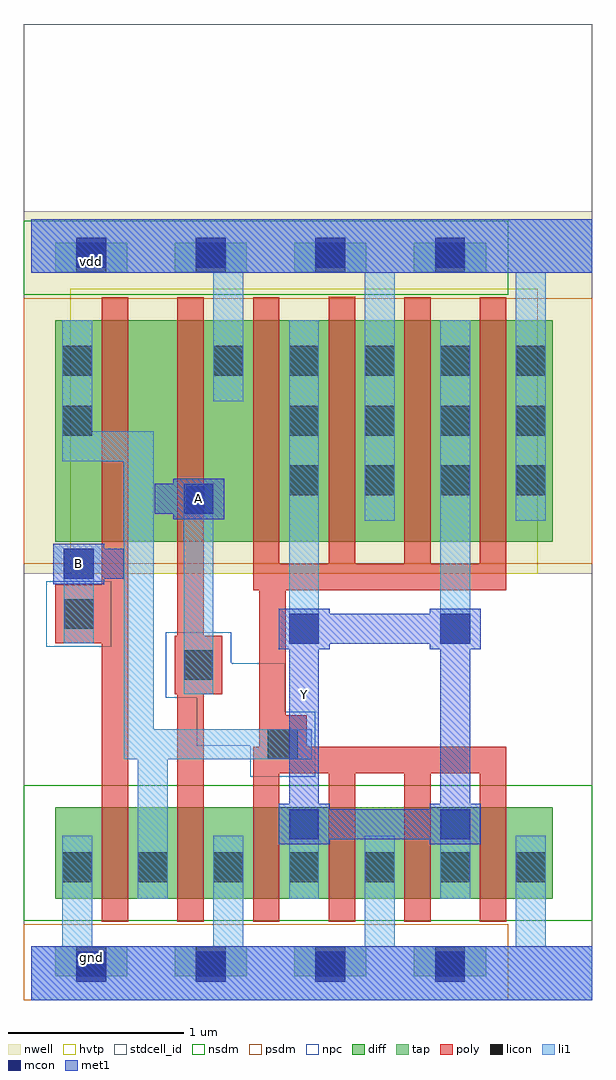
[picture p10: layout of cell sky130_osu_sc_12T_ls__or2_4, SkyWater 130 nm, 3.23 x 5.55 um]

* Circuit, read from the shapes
.subckt sky130_osu_sc_12T_ls__or2_4 A B Y gnd vdd
XM1 n1 B gnd gnd sky130_fd_pr__nfet_01v8 w=0.52 l=0.15
XM2 gnd A n1 gnd sky130_fd_pr__nfet_01v8 w=0.52 l=0.15
XM3 Y n1 gnd gnd sky130_fd_pr__nfet_01v8 w=0.52 l=0.15 m=4
XM4 n2 B n1 vdd sky130_fd_pr__pfet_01v8_hvt w=1.26 l=0.15
XM5 vdd A n2 vdd sky130_fd_pr__pfet_01v8_hvt w=1.26 l=0.15
XM6 Y n1 vdd vdd sky130_fd_pr__pfet_01v8_hvt w=1.26 l=0.15 m=4
.ends

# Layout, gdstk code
import gdstk
lib = gdstk.Library(unit=1e-6, precision=1e-09)
def R(c, l, rs):  # rectangles x0, y0, x1, y1
    for r in rs: c.add(gdstk.rectangle(r[:2], r[2:], *l))
def A(c, l, x, y, w, h, nx, ny, dx, dy):  # array of equal rectangles
    R(c, l, [(x+i*dx, y+j*dy, x+i*dx+w, y+j*dy+h) for i in range(nx) for j in range(ny)])
nwell = (64, 20)
diff = (65, 20)
tap = (65, 44)
poly = (66, 20)
licon = (66, 44)
li1 = (67, 20)
mcon = (67, 44)
met1 = (68, 20)
hvtp = (78, 44)
stdcell_id = (81, 4)
nsdm = (93, 44)
psdm = (94, 20)
npc = (95, 20)

sky130_osu_sc_12t_ls__or = lib.new_cell('sky130_osu_sc_12T_ls__or2_4')
R(sky130_osu_sc_12t_ls__or, nwell, [(-0.045,2.425,3.19,4.485)])
R(sky130_osu_sc_12t_ls__or, diff, [(0.135,0.575,2.965,1.095), (0.135,2.605,2.965,3.865)])
A(sky130_osu_sc_12t_ls__or, tap, 0.135, 0.135, 0.41, 0.17, 4, 2, 0.68, 4)
A(sky130_osu_sc_12t_ls__or, poly, 1.26, 0.445, 0.15, 0.845, 4, 1, 0.43, 0)
R(sky130_osu_sc_12t_ls__or, poly, [(0.4,0.445,0.55,2.03), (0.83,0.445,0.98,1.74), (1.26,1.29,2.7,1.44), (1.295,1.44,1.565,1.62), (1.295,1.62,1.445,2.33), (0.815,1.74,1.085,2.07), (0.135,2.03,0.55,2.36), (0.83,2.07,0.98,3.995), (1.26,2.33,2.7,2.48), (0.4,2.36,0.55,3.995), (1.26,2.48,1.41,3.995), (1.69,2.48,1.84,4), (2.12,2.48,2.27,3.995), (2.55,2.48,2.7,3.995)])
A(sky130_osu_sc_12t_ls__or, licon, 0.255, 0.135, 0.17, 0.17, 4, 2, 0.68, 4)
A(sky130_osu_sc_12t_ls__or, licon, 0.175, 0.67, 0.17, 0.17, 7, 1, 0.43, 0)
A(sky130_osu_sc_12t_ls__or, licon, 1.465, 2.87, 0.17, 0.17, 4, 2, 0.43, 0.34)
A(sky130_osu_sc_12t_ls__or, licon, 1.035, 3.55, 0.17, 0.17, 5, 1, 0.43, 0)
R(sky130_osu_sc_12t_ls__or, licon, [(1.345,1.37,1.515,1.54), (0.865,1.82,1.035,1.99), (0.185,2.11,0.355,2.28), (0.175,3.21,0.345,3.38), (0.175,3.55,0.345,3.72)])
A(sky130_osu_sc_12t_ls__or, li1, 0.175, 0.305, 0.17, 0.63, 4, 1, 0.86, 0)
R(sky130_osu_sc_12t_ls__or, li1, [(0,0,3.19,0.305), (0.605,0.575,0.775,1.37), (1.465,0.575,1.635,1.085), (2.325,0.575,2.495,1.085), (0.525,1.37,1.595,1.54), (0.525,1.54,0.695,3.065), (0.865,1.74,1.035,2.935), (1.465,2.025,1.635,3.865), (2.325,2.025,2.495,3.865), (0.185,2.03,0.355,2.565), (1.895,2.725,2.065,4.135), (2.755,2.725,2.925,4.135), (0.175,3.065,0.695,3.235), (0.175,3.235,0.345,3.865), (1.035,3.405,1.205,4.135), (0,4.135,3.19,4.44)])
A(sky130_osu_sc_12t_ls__or, mcon, 0.255, 0.105, 0.17, 0.17, 4, 2, 0.68, 4.06)
R(sky130_osu_sc_12t_ls__or, mcon, [(1.465,0.915,1.635,1.085), (2.325,0.915,2.495,1.085), (1.465,2.025,1.635,2.195), (2.325,2.025,2.495,2.195), (0.185,2.395,0.355,2.565), (0.865,2.765,1.035,2.935)])
R(sky130_osu_sc_12t_ls__or, met1, [(0,0,3.19,0.305), (1.405,0.885,1.695,0.915), (2.265,0.885,2.555,0.915), (1.405,0.915,2.555,1.085), (1.405,1.085,1.695,1.115), (2.265,1.085,2.555,1.115), (1.465,1.115,1.635,1.995), (2.325,1.115,2.495,1.995), (1.405,1.995,1.695,2.025), (2.265,1.995,2.555,2.025), (1.405,2.025,2.555,2.195), (1.405,2.195,1.695,2.225), (2.265,2.195,2.555,2.225), (0.125,2.365,0.415,2.395), (0.125,2.395,0.525,2.565), (0.125,2.565,0.415,2.595), (0.805,2.735,1.095,2.765), (0.7,2.765,1.095,2.935), (0.805,2.935,1.095,2.965), (0,4.135,3.19,4.44)])
R(sky130_osu_sc_12t_ls__or, hvtp, [(0.22,2.425,2.88,4.045)])
R(sky130_osu_sc_12t_ls__or, stdcell_id, [(-0.045,0,3.19,5.55)])
R(sky130_osu_sc_12t_ls__or, nsdm, [(-0.045,0.45,3.19,1.22), (-0.045,4.01,2.71,4.43)])
R(sky130_osu_sc_12t_ls__or, psdm, [(-0.045,0,2.71,0.43), (-0.045,2.48,3.19,3.99)])
R(sky130_osu_sc_12t_ls__or, npc, [(1.245,1.27,1.615,1.445), (0.94,1.445,1.615,1.64), (0.94,1.64,1.44,1.72), (0.765,1.72,1.44,1.915), (0.765,1.915,1.135,2.09), (0.085,2.01,0.455,2.38)])
sky130_osu_sc_12t_ls__or.add(gdstk.Label('gnd', (0.34,0.24), layer=68, texttype=16))
sky130_osu_sc_12t_ls__or.add(gdstk.Label('vdd', (0.34,4.2), layer=68, texttype=16))
sky130_osu_sc_12t_ls__or.add(gdstk.Label('Y', (1.555,1.74), layer=68, texttype=5))
sky130_osu_sc_12t_ls__or.add(gdstk.Label('A', (0.95,2.85), layer=68, texttype=5))
sky130_osu_sc_12t_ls__or.add(gdstk.Label('B', (0.27,2.48), layer=68, texttype=5))

lib.write_gds('sky130_osu_sc_12T_ls__or2_4.gds')
